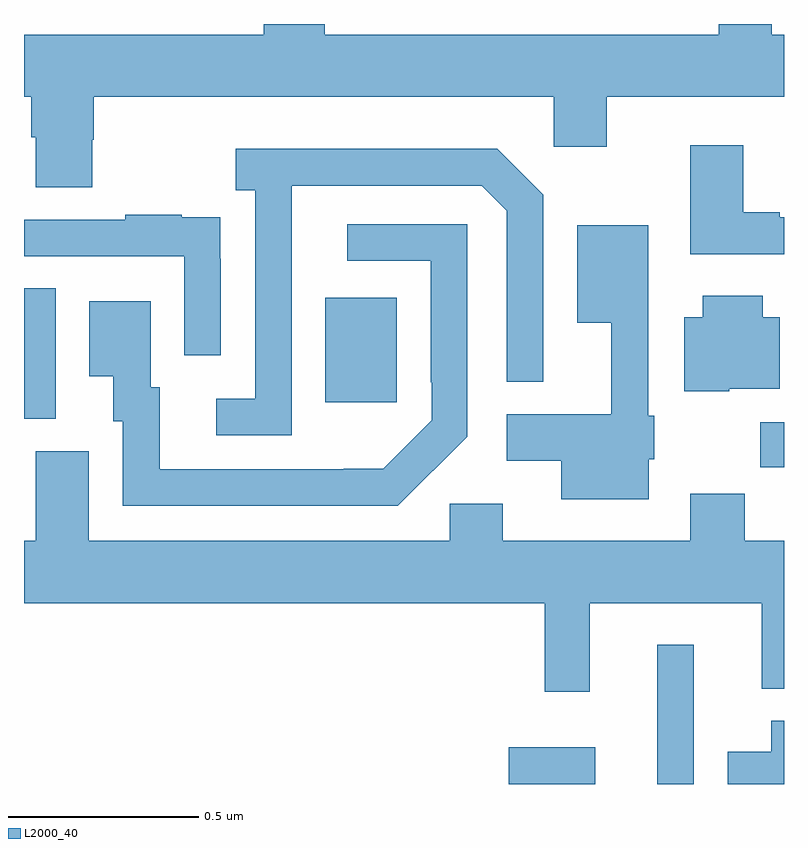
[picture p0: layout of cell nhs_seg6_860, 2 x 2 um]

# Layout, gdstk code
import gdstk
lib = gdstk.Library(unit=1e-6, precision=1e-09)
def R(c, l, rs):  # rectangles x0, y0, x1, y1
    for r in rs: c.add(gdstk.rectangle(r[:2], r[2:], *l))
def P(c, l, *ps):  # polygons
    for p in ps: c.add(gdstk.Polygon(p, *l))
L2000_40 = (2000, 40)

nhs_seg6_860 = lib.new_cell('nhs_seg6_860')
R(nhs_seg6_860, L2000_40, [(122.276,973.5,122.503,973.597), (122.666,973.5,122.763,973.867), (122.938,974.334,123,974.452), (121,974.461,121.084,974.804), (121.793,974.505,121.981,974.779)])
P(nhs_seg6_860, L2000_40, [(121.179,975.195),(121.184,975.195),(121.184,975.308),(122.394,975.308),(122.394,975.177),(122.533,975.177),(122.533,975.308),(123,975.308),(123,975.472),(122.968,975.472),(122.968,975.5),(122.828,975.5),(122.828,975.472),(121.791,975.472),(121.791,975.5),(121.631,975.5),(121.631,975.472),(121,975.472),(121,975.308),(121.019,975.308),(121.019,975.202),(121.031,975.202),(121.031,975.07),(121.179,975.07)],
  [(123,974.991),(122.989,974.991),(122.989,975.004),(122.893,975.004),(122.893,975.181),(122.753,975.181),(122.753,974.894),(123,974.894)],
  [(121.704,974.875),(121.705,974.875),(121.705,975.075),(122.205,975.075),(122.271,975.009),(122.271,974.558),(122.367,974.558),(122.367,975.051),(122.246,975.172),(121.557,975.172),(121.557,975.062),(121.608,975.062),(121.608,974.514),(121.506,974.514),(121.506,974.418),(121.704,974.418)],
  [(121.518,974.882),(121.517,974.882),(121.517,974.991),(121.415,974.991),(121.415,974.998),(121.267,974.998),(121.267,974.985),(121,974.985),(121,974.889),(121.422,974.889),(121.422,974.628),(121.518,974.628)],
  [(122.166,974.414),(122.166,974.973),(121.851,974.973),(121.851,974.877),(122.07,974.877),(122.07,974.557),(122.073,974.557),(122.073,974.457),(121.945,974.329),(121.841,974.329),(121.841,974.328),(121.357,974.328),(121.357,974.544),(121.333,974.544),(121.333,974.77),(121.172,974.77),(121.172,974.573),(121.235,974.573),(121.235,974.454),(121.26,974.454),(121.26,974.232),(121.984,974.232)],
  [(122.644,974.355),(122.659,974.355),(122.659,974.469),(122.643,974.469),(122.643,974.971),(122.456,974.971),(122.456,974.714),(122.546,974.714),(122.546,974.473),(122.271,974.473),(122.271,974.351),(122.414,974.351),(122.414,974.249),(122.644,974.249)],
  [(122.856,974.54),(122.989,974.54),(122.989,974.728),(122.944,974.728),(122.944,974.785),(122.786,974.785),(122.786,974.728),(122.738,974.728),(122.738,974.534),(122.856,974.534)],
  [(122.489,973.976),(122.942,973.976),(122.942,973.751),(123,973.751),(123,974.14),(122.897,974.14),(122.897,974.264),(122.753,974.264),(122.753,974.14),(122.26,974.14),(122.26,974.238),(122.121,974.238),(122.121,974.14),(121.171,974.14),(121.171,974.376),(121.031,974.376),(121.031,974.14),(121,974.14),(121,973.976),(122.371,973.976),(122.371,973.743),(122.489,973.743)],
  [(123,973.666),(122.966,973.666),(122.966,973.585),(122.852,973.585),(122.852,973.5),(123,973.5)])

lib.write_gds('nhs_seg6_860.gds')
